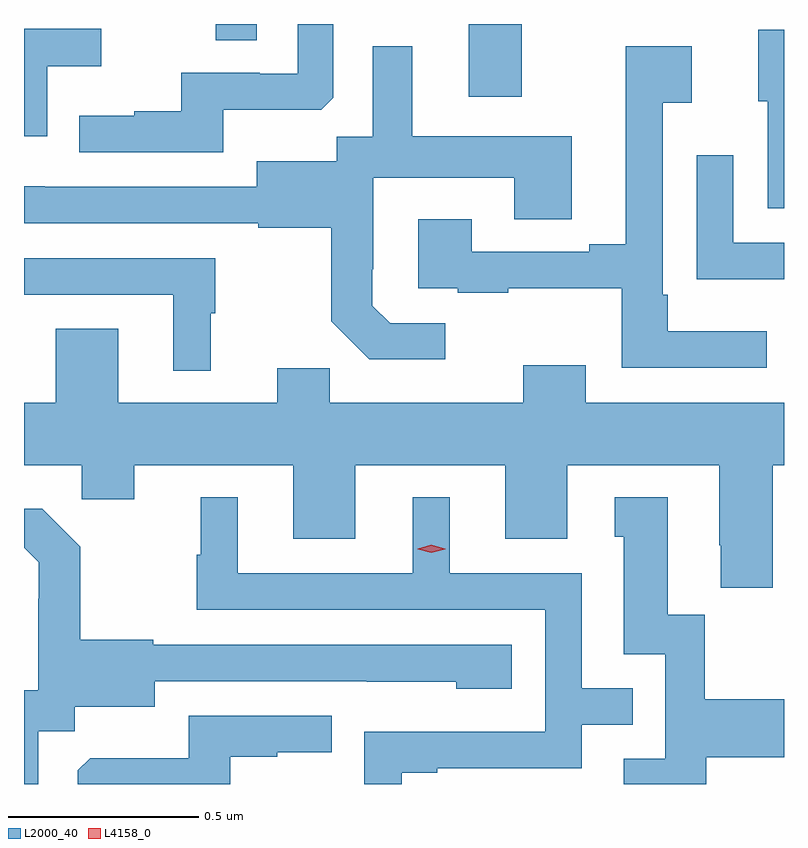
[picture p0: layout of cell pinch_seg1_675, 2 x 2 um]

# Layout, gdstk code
import gdstk
lib = gdstk.Library(unit=1e-6, precision=1e-09)
def R(c, l, rs):  # rectangles x0, y0, x1, y1
    for r in rs: c.add(gdstk.rectangle(r[:2], r[2:], *l))
def P(c, l, *ps):  # polygons
    for p in ps: c.add(gdstk.Polygon(p, *l))
L2000_40 = (2000, 40)
L4158_0 = (4158, 0)

pinch_seg1_675 = lib.new_cell('pinch_seg1_675')
R(pinch_seg1_675, L2000_40, [(842.771,579.342,842.911,579.533), (842.106,579.49,842.214,579.533)])
P(pinch_seg1_675, L2000_40, [(842.125,579.308),(842.383,579.308),(842.415,579.339),(842.415,579.533),(842.322,579.533),(842.322,579.402),(842.222,579.402),(842.222,579.405),(842.015,579.405),(842.015,579.304),(841.891,579.304),(841.891,579.292),(841.747,579.292),(841.747,579.195),(842.125,579.195)],
  [(841.662,579.422),(841.804,579.422),(841.804,579.521),(841.601,579.521),(841.601,579.237),(841.662,579.237)],
  [(843.601,579.518),(843.533,579.518),(843.533,579.33),(843.558,579.33),(843.558,579.048),(843.601,579.048)],
  [(843.556,578.725),(843.295,578.725),(843.295,578.821),(843.282,578.821),(843.282,579.326),(843.358,579.326),(843.358,579.475),(843.185,579.475),(843.185,578.953),(843.089,578.953),(843.089,578.934),(842.779,578.934),(842.779,579.019),(842.639,579.019),(842.639,578.838),(842.743,578.838),(842.743,578.826),(842.875,578.826),(842.875,578.837),(843.174,578.837),(843.174,578.628),(843.556,578.628)],
  [(842.71,578.745),(842.565,578.745),(842.518,578.792),(842.518,578.887),(842.52,578.887),(842.52,579.128),(842.891,579.128),(842.891,579.019),(843.043,579.019),(843.043,579.238),(842.623,579.238),(842.623,579.475),(842.519,579.475),(842.519,579.236),(842.424,579.236),(842.424,579.172),(842.213,579.172),(842.213,579.105),(841.655,579.105),(841.655,579.106),(841.601,579.106),(841.601,579.009),(842.217,579.009),(842.217,578.997),(842.409,578.997),(842.409,578.751),(842.509,578.651),(842.71,578.651)],
  [(843.601,578.958),(843.468,578.958),(843.468,579.187),(843.372,579.187),(843.372,578.861),(843.601,578.861)],
  [(842.092,578.772),(842.104,578.772),(842.104,578.916),(841.601,578.916),(841.601,578.82),(841.994,578.82),(841.994,578.621),(842.092,578.621)],
  [(843.571,578.372),(843.601,578.372),(843.601,578.536),(843.079,578.536),(843.079,578.635),(842.915,578.635),(842.915,578.536),(842.405,578.536),(842.405,578.627),(842.267,578.627),(842.267,578.536),(841.849,578.536),(841.849,578.731),(841.685,578.731),(841.685,578.536),(841.601,578.536),(841.601,578.372),(841.753,578.372),(841.753,578.282),(841.891,578.282),(841.891,578.372),(842.309,578.372),(842.309,578.178),(842.473,578.178),(842.473,578.372),(842.867,578.372),(842.867,578.178),(843.031,578.178),(843.031,578.372),(843.431,578.372),(843.431,578.161),(843.434,578.161),(843.434,578.049),(843.571,578.049)],
  [(843.397,577.604),(843.601,577.604),(843.601,577.756),(843.393,577.756),(843.393,577.979),(843.295,577.979),(843.295,578.287),(843.155,578.287),(843.155,578.184),(843.179,578.184),(843.179,577.875),(843.288,577.875),(843.288,577.599),(843.179,577.599),(843.179,577.533),(843.397,577.533)],
  [(842.595,577.563),(842.689,577.563),(842.689,577.575),(843.069,577.575),(843.069,577.689),(843.203,577.689),(843.203,577.785),(843.069,577.785),(843.069,578.088),(842.722,578.088),(842.722,578.287),(842.624,578.287),(842.624,578.088),(842.164,578.088),(842.164,578.287),(842.066,578.287),(842.066,578.136),(842.055,578.136),(842.055,577.992),(842.973,577.992),(842.973,577.671),(842.496,577.671),(842.496,577.533),(842.595,577.533)],
  [(841.639,577.672),(841.734,577.672),(841.734,577.736),(841.945,577.736),(841.945,577.803),(842.503,577.803),(842.503,577.802),(842.739,577.802),(842.739,577.784),(842.884,577.784),(842.884,577.899),(841.941,577.899),(841.941,577.912),(841.749,577.912),(841.749,578.157),(841.649,578.257),(841.601,578.257),(841.601,578.155),(841.64,578.116),(841.64,578.021),(841.638,578.021),(841.638,577.78),(841.601,577.78),(841.601,577.533),(841.639,577.533)],
  [(842.144,577.605),(842.267,577.605),(842.267,577.616),(842.411,577.616),(842.411,577.713),(842.034,577.713),(842.034,577.601),(841.775,577.601),(841.743,577.569),(841.743,577.533),(842.144,577.533)])
P(pinch_seg1_675, L4158_0, [(842.673,578.142),(842.637,578.151),(842.637,578.152),(842.637,578.152),(842.673,578.162),(842.709,578.152),(842.709,578.152),(842.709,578.151)])

lib.write_gds('pinch_seg1_675.gds')
